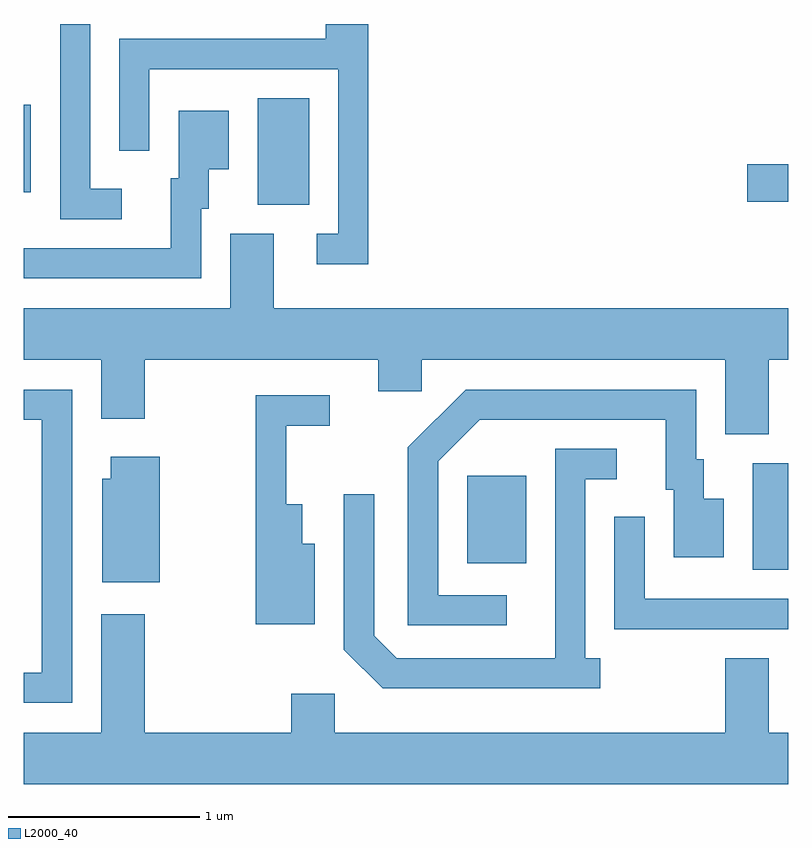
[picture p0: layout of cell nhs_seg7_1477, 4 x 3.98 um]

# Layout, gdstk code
import gdstk
lib = gdstk.Library(unit=1e-6, precision=1e-09)
def R(c, l, rs):  # rectangles x0, y0, x1, y1
    for r in rs: c.add(gdstk.rectangle(r[:2], r[2:], *l))
def P(c, l, *ps):  # polygons
    for p in ps: c.add(gdstk.Polygon(p, *l))
L2000_40 = (2000, 40)

nhs_seg7_1477 = lib.new_cell('nhs_seg7_1477')
R(nhs_seg7_1477, L2000_40, [(233.426,1755.396,233.611,1755.954), (231.931,1755.431,232.239,1755.889), (230.836,1757.306,231.104,1757.864), (233.396,1757.321,233.611,1757.519), (229.611,1757.371,229.649,1757.829)])
P(nhs_seg7_1477, L2000_40, [(230.123,1757.389),(229.959,1757.389),(229.959,1758.252),(229.801,1758.252),(229.801,1757.231),(230.123,1757.231)],
  [(231.414,1758.252),(231.191,1758.252),(231.191,1758.174),(230.111,1758.174),(230.111,1757.588),(230.269,1757.588),(230.269,1758.016),(231.256,1758.016),(231.256,1757.154),(231.143,1757.154),(231.143,1756.996),(231.414,1756.996)],
  [(230.539,1757.286),(230.579,1757.286),(230.579,1757.491),(230.684,1757.491),(230.684,1757.799),(230.421,1757.799),(230.421,1757.444),(230.381,1757.444),(230.381,1757.079),(229.611,1757.079),(229.611,1756.921),(230.539,1756.921)],
  [(233.509,1756.496),(233.611,1756.496),(233.611,1756.764),(230.919,1756.764),(230.919,1757.154),(230.691,1757.154),(230.691,1756.764),(229.611,1756.764),(229.611,1756.496),(230.016,1756.496),(230.016,1756.186),(230.244,1756.186),(230.244,1756.496),(231.466,1756.496),(231.466,1756.331),(231.694,1756.331),(231.694,1756.496),(233.281,1756.496),(233.281,1756.106),(233.509,1756.106)],
  [(229.864,1756.339),(229.611,1756.339),(229.611,1756.181),(229.706,1756.181),(229.706,1754.859),(229.611,1754.859),(229.611,1754.701),(229.864,1754.701)],
  [(232.138,1755.264),(231.779,1755.264),(231.779,1755.964),(231.997,1756.181),(232.971,1756.181),(232.971,1755.816),(233.011,1755.816),(233.011,1755.461),(233.274,1755.461),(233.274,1755.769),(233.169,1755.769),(233.169,1755.974),(233.129,1755.974),(233.129,1756.339),(231.924,1756.339),(231.621,1756.037),(231.621,1755.106),(232.138,1755.106)],
  [(231.134,1755.534),(231.069,1755.534),(231.069,1755.739),(230.984,1755.739),(230.984,1756.151),(231.213,1756.151),(231.213,1756.309),(230.826,1756.309),(230.826,1755.111),(231.134,1755.111)],
  [(232.628,1754.934),(232.549,1754.934),(232.549,1755.871),(232.713,1755.871),(232.713,1756.029),(232.391,1756.029),(232.391,1754.934),(231.562,1754.934),(231.444,1755.052),(231.444,1755.793),(231.286,1755.793),(231.286,1754.979),(231.489,1754.776),(232.628,1754.776)],
  [(230.324,1755.989),(230.066,1755.989),(230.066,1755.874),(230.021,1755.874),(230.021,1755.331),(230.324,1755.331)],
  [(233.611,1755.244),(232.859,1755.244),(232.859,1755.673),(232.701,1755.673),(232.701,1755.086),(233.611,1755.086)],
  [(233.611,1754.544),(233.509,1754.544),(233.509,1754.934),(233.281,1754.934),(233.281,1754.544),(231.239,1754.544),(231.239,1754.749),(231.011,1754.749),(231.011,1754.544),(230.244,1754.544),(230.244,1755.164),(230.016,1755.164),(230.016,1754.544),(229.611,1754.544),(229.611,1754.276),(233.611,1754.276)])

lib.write_gds('nhs_seg7_1477.gds')
